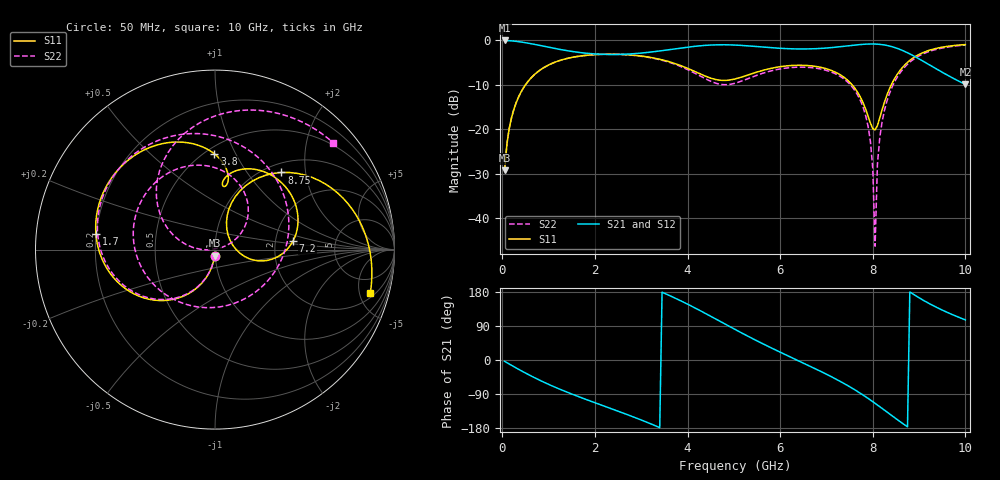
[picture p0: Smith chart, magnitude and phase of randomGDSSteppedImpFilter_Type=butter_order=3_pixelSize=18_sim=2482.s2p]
! freq	dB(S11)	phase(S11)	dB(S12)	phase(S12)
!  dB(S21)	phase(S21)	dB(S22)	phase(S22)
!S-par simulation data
#  GHz  S  DB  R 50
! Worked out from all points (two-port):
!   200 points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, 50 MHz to 10 GHz, reference 50 ohm
!   highest |S21| = -0.01 dB at 50 MHz (marker M1); lowest = -9.9 dB at 10 GHz (marker M2)
!   |S21| within 3 dB of the highest: start of sweep to 1.959 GHz; 2.811 GHz to 8.795 GHz (5.984 GHz wide, 103 % of centre)
!   lowest |S11| = -29.2 dB at 50 MHz (marker M3), VSWR 1.07, Z = 49.7 - j3.43 ohm
!   |S11| at or under -10 dB: start of sweep to 499.4 MHz; 7.556 GHz to 8.399 GHz (843.4 MHz wide, 10.6 % of centre)
!   |S22| runs from -46.2 to -1.0 dB; largest |S21 - S12| = 0
!   S11 on the Smith chart (normalised r, x): 50 MHz: 0.99, -0.07; 1.7 GHz: 0.20, +0.06; 3.8 GHz: 0.55, +0.83; 7.2 GHz: 2.52, +0.31; 8.75 GHz: 1.17, +1.48; 10 GHz: 2.56, -6.34
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0.05  -29.23 -93.7  -0.01 -3.6  -0.01 -3.6  -29.23 -93.8
0.2  -17.35 -104.5  -0.10 -14.1  -0.10 -14.1  -17.35 -104.7
0.5  -9.99 -124.5  -0.51 -34.4  -0.51 -34.4  -9.99 -125.3
1.7  -3.48 172.3  -2.75 -99.2  -2.75 -99.2  -3.49 168.4
1.75  -3.42 170.1  -2.81 -101.5  -2.81 -101.5  -3.43 166.0
2.7  -3.21 131.3  -3.08 -144.2  -3.08 -144.2  -3.24 119.9
3.4  -4.24 104.2  -2.36 -178.4  -2.36 -178.4  -4.33 79.4
3.8  -5.46 90.4  -1.79 159.4  -1.79 159.4  -5.64 49.8
4.35  -7.88 79.4  -1.14 125.3  -1.14 125.3  -8.42 -6.1
5.05  -8.60 83.6  -1.06 79.1  -1.06 79.1  -9.55 -106.1
5.85  -6.18 66.4  -1.67 29.5  -1.67 29.5  -6.73 171.2
6.7  -5.75 30.5  -1.88 -19.6  -1.88 -19.6  -6.14 111.4
7.2  -7.17 6.4  -1.52 -50.1  -1.52 -50.1  -7.54 77.8
7.85  -15.55 -12.8  -0.84 -97.3  -0.84 -97.3  -17.06 28.2
8  -19.84 13.9  -0.80 -109.9  -0.80 -109.9  -28.77 17.2
8.05  -20.11 32.1  -0.81 -114.3  -0.81 -114.3  -46.25 107.5
8.1  -19.14 49.1  -0.84 -118.7  -0.84 -118.7  -27.93 -177.7
8.15  -17.44 60.8  -0.88 -123.1  -0.88 -123.1  -21.94 179.0
8.35  -11.13 70.5  -1.23 -141.3  -1.23 -141.3  -12.24 161.1
8.75  -4.92 49.3  -2.77 -176.4  -2.77 -176.4  -5.35 124.7
9.3  -1.97 16.4  -5.96 143.7  -5.96 143.7  -2.20 82.8
10  -0.93 -15.5  -9.89 105.8  -9.89 105.8  -1.04 42.1
